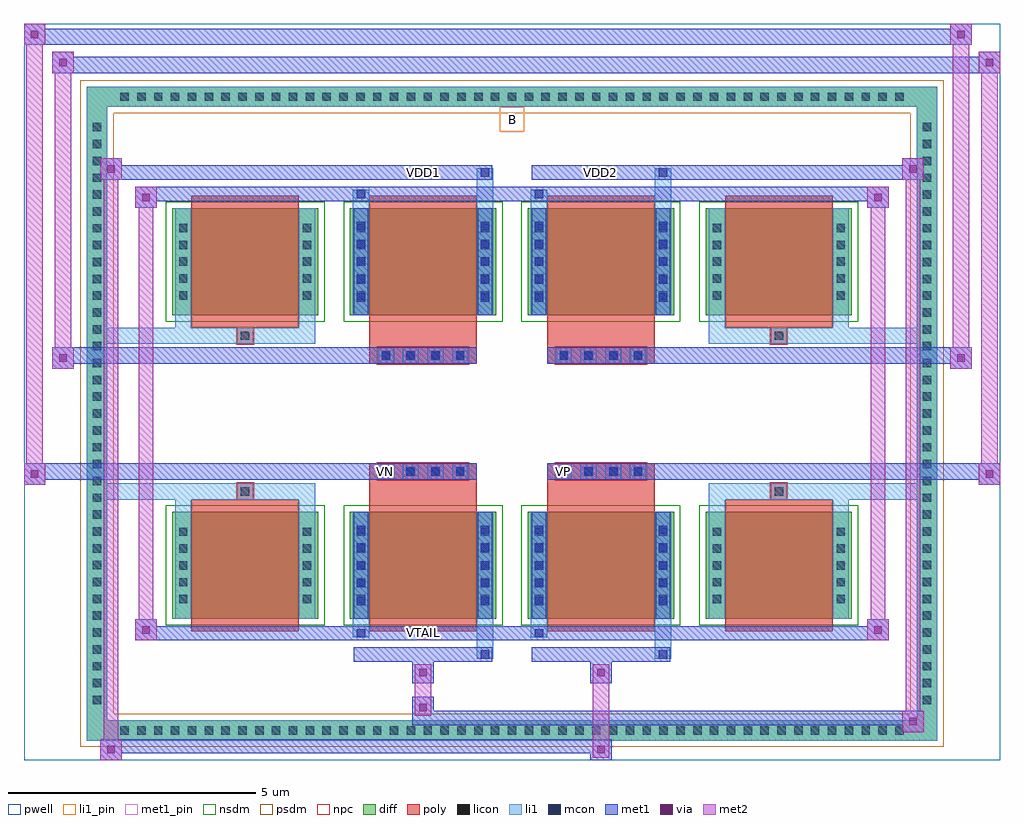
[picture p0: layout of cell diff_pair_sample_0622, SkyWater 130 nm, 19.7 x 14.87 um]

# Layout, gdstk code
import gdstk
lib = gdstk.Library(unit=1e-6, precision=5e-09)
def R(c, l, rs):  # rectangles x0, y0, x1, y1
    for r in rs: c.add(gdstk.rectangle(r[:2], r[2:], *l))
def A(c, l, x, y, w, h, nx, ny, dx, dy):  # array of equal rectangles
    R(c, l, [(x+i*dx, y+j*dy, x+i*dx+w, y+j*dy+h) for i in range(nx) for j in range(ny)])
def P(c, l, *ps):  # polygons
    for p in ps: c.add(gdstk.Polygon(p, *l))
pwell = (64, 44)
diff = (65, 20)
poly = (66, 20)
licon = (66, 44)
li1_pin = (67, 16)
li1 = (67, 20)
mcon = (67, 44)
met1_pin = (68, 16)
met1 = (68, 20)
via = (68, 44)
met2 = (69, 20)
nsdm = (93, 44)
psdm = (94, 20)
npc = (95, 20)

diff_pair_sample_0622 = lib.new_cell('diff_pair_sample_0622')
R(diff_pair_sample_0622, pwell, [(-9.85,-7,9.85,7.87), (-7.17,-5.19,-0.01,-0.805), (0.01,-5.19,7.17,-0.805), (-7.17,0.805,-0.01,5.19), (0.01,0.805,7.17,5.19)])
A(diff_pair_sample_0622, diff, -8.025, -6.6, 0.41, 0.41, 47, 2, 0.34, 12.79)
A(diff_pair_sample_0622, diff, -8.58, -5.985, 0.41, 0.41, 1, 35, 0, 0.34)
A(diff_pair_sample_0622, diff, 8.17, -5.985, 0.41, 0.41, 1, 35, 0, 0.34)
A(diff_pair_sample_0622, diff, -6.86, -4.145, 2.95, 2.16, 4, 2, 3.59, 6.13)
R(diff_pair_sample_0622, diff, [(-8.025,-6.6,8.025,-6.19), (-8.58,-5.985,-8.17,5.985), (8.17,-5.985,8.58,5.985), (-8.025,6.19,8.025,6.6)])
P(diff_pair_sample_0622, diff, [(8.58,6.6),(-8.58,6.6),(-8.58,-6.19),(-8.17,-6.19),(-8.17,6.19),(8.17,6.19),(8.17,-6.19),(-8.17,-6.19),(-8.58,-6.19),(-8.58,-6.6),(8.58,-6.6)])
A(diff_pair_sample_0622, poly, -6.47, -4.395, 2.17, 2.66, 4, 2, 3.59, 6.13)
A(diff_pair_sample_0622, poly, -2.71, -1.335, 0.33, 0.33, 4, 2, 0.5, 2.34)
A(diff_pair_sample_0622, poly, 0.88, -1.335, 0.33, 0.33, 4, 2, 0.5, 2.34)
R(diff_pair_sample_0622, poly, [(-5.55,-1.735,-5.22,-1.405), (-5.55,-1.735,-5.22,-1.405), (-2.88,-1.735,-0.71,-1.335), (0.71,-1.735,2.88,-1.335), (5.22,-1.735,5.55,-1.405), (5.22,-1.735,5.55,-1.405), (-2.88,-1.335,-0.71,-1.005), (0.71,-1.335,2.88,-1.005), (-2.88,1.005,-0.71,1.335), (0.71,1.005,2.88,1.335), (-2.88,1.335,-0.71,1.735), (0.71,1.335,2.88,1.735), (-5.55,1.405,-5.22,1.735), (-5.55,1.405,-5.22,1.735), (5.22,1.405,5.55,1.735), (5.22,1.405,5.55,1.735)])
A(diff_pair_sample_0622, licon, -7.905, -6.48, 0.17, 0.17, 47, 2, 0.34, 12.79)
A(diff_pair_sample_0622, licon, -8.46, -5.865, 0.17, 0.17, 1, 35, 0, 0.34)
A(diff_pair_sample_0622, licon, 8.29, -5.865, 0.17, 0.17, 1, 35, 0, 0.34)
A(diff_pair_sample_0622, licon, -6.72, -3.83, 0.17, 0.17, 1, 5, 0, 0.34)
A(diff_pair_sample_0622, licon, -4.22, -3.83, 0.17, 0.17, 1, 5, 0, 0.34)
A(diff_pair_sample_0622, licon, -3.13, -3.83, 0.17, 0.17, 1, 5, 0, 0.34)
A(diff_pair_sample_0622, licon, -0.63, -3.83, 0.17, 0.17, 1, 5, 0, 0.34)
A(diff_pair_sample_0622, licon, 0.46, -3.83, 0.17, 0.17, 1, 5, 0, 0.34)
A(diff_pair_sample_0622, licon, 2.96, -3.83, 0.17, 0.17, 1, 5, 0, 0.34)
A(diff_pair_sample_0622, licon, 4.05, -3.83, 0.17, 0.17, 1, 5, 0, 0.34)
A(diff_pair_sample_0622, licon, 6.55, -3.83, 0.17, 0.17, 1, 5, 0, 0.34)
A(diff_pair_sample_0622, licon, -2.63, -1.255, 0.17, 0.17, 4, 2, 0.5, 2.34)
A(diff_pair_sample_0622, licon, 0.96, -1.255, 0.17, 0.17, 4, 2, 0.5, 2.34)
A(diff_pair_sample_0622, licon, -6.72, 2.3, 0.17, 0.17, 1, 5, 0, 0.34)
A(diff_pair_sample_0622, licon, -4.22, 2.3, 0.17, 0.17, 1, 5, 0, 0.34)
A(diff_pair_sample_0622, licon, -3.13, 2.3, 0.17, 0.17, 1, 5, 0, 0.34)
A(diff_pair_sample_0622, licon, -0.63, 2.3, 0.17, 0.17, 1, 5, 0, 0.34)
A(diff_pair_sample_0622, licon, 0.46, 2.3, 0.17, 0.17, 1, 5, 0, 0.34)
A(diff_pair_sample_0622, licon, 2.96, 2.3, 0.17, 0.17, 1, 5, 0, 0.34)
A(diff_pair_sample_0622, licon, 4.05, 2.3, 0.17, 0.17, 1, 5, 0, 0.34)
A(diff_pair_sample_0622, licon, 6.55, 2.3, 0.17, 0.17, 1, 5, 0, 0.34)
R(diff_pair_sample_0622, licon, [(-5.47,-1.655,-5.3,-1.485), (5.3,-1.655,5.47,-1.485), (-5.47,1.485,-5.3,1.655), (5.3,1.485,5.47,1.655)])
R(diff_pair_sample_0622, li1_pin, [(-0.25,5.69,0.25,6.19)])
A(diff_pair_sample_0622, li1, -7.985, -6.56, 0.33, 0.33, 47, 2, 0.34, 12.79)
A(diff_pair_sample_0622, li1, -8.54, -5.945, 0.33, 0.33, 1, 35, 0, 0.34)
A(diff_pair_sample_0622, li1, 8.21, -5.945, 0.33, 0.33, 1, 35, 0, 0.34)
A(diff_pair_sample_0622, li1, -6.8, -3.91, 0.33, 0.33, 1, 5, 0, 0.34)
A(diff_pair_sample_0622, li1, -4.3, -3.91, 0.33, 0.33, 1, 5, 0, 0.34)
A(diff_pair_sample_0622, li1, -3.21, -3.91, 0.33, 0.33, 1, 5, 0, 0.34)
A(diff_pair_sample_0622, li1, -0.71, -3.91, 0.33, 0.33, 1, 5, 0, 0.34)
A(diff_pair_sample_0622, li1, 0.38, -3.91, 0.33, 0.33, 1, 5, 0, 0.34)
A(diff_pair_sample_0622, li1, 2.88, -3.91, 0.33, 0.33, 1, 5, 0, 0.34)
A(diff_pair_sample_0622, li1, 3.97, -3.91, 0.33, 0.33, 1, 5, 0, 0.34)
A(diff_pair_sample_0622, li1, 6.47, -3.91, 0.33, 0.33, 1, 5, 0, 0.34)
A(diff_pair_sample_0622, li1, -3.13, -3.87, 0.17, 0.17, 1, 5, 0, 0.36)
A(diff_pair_sample_0622, li1, -0.63, -3.87, 0.17, 0.17, 1, 5, 0, 0.36)
A(diff_pair_sample_0622, li1, 0.46, -3.87, 0.17, 0.17, 1, 5, 0, 0.36)
A(diff_pair_sample_0622, li1, 2.96, -3.87, 0.17, 0.17, 1, 5, 0, 0.36)
A(diff_pair_sample_0622, li1, -2.71, -1.335, 0.33, 0.33, 4, 2, 0.5, 2.34)
A(diff_pair_sample_0622, li1, 0.88, -1.335, 0.33, 0.33, 4, 2, 0.5, 2.34)
A(diff_pair_sample_0622, li1, -6.8, 2.22, 0.33, 0.33, 1, 5, 0, 0.34)
A(diff_pair_sample_0622, li1, -4.3, 2.22, 0.33, 0.33, 1, 5, 0, 0.34)
A(diff_pair_sample_0622, li1, -3.21, 2.22, 0.33, 0.33, 1, 5, 0, 0.34)
A(diff_pair_sample_0622, li1, -0.71, 2.22, 0.33, 0.33, 1, 5, 0, 0.34)
A(diff_pair_sample_0622, li1, 0.38, 2.22, 0.33, 0.33, 1, 5, 0, 0.34)
A(diff_pair_sample_0622, li1, 2.88, 2.22, 0.33, 0.33, 1, 5, 0, 0.34)
A(diff_pair_sample_0622, li1, 3.97, 2.22, 0.33, 0.33, 1, 5, 0, 0.34)
A(diff_pair_sample_0622, li1, 6.47, 2.22, 0.33, 0.33, 1, 5, 0, 0.34)
A(diff_pair_sample_0622, li1, -3.13, 2.26, 0.17, 0.17, 1, 5, 0, 0.36)
A(diff_pair_sample_0622, li1, -0.63, 2.26, 0.17, 0.17, 1, 5, 0, 0.36)
A(diff_pair_sample_0622, li1, 0.46, 2.26, 0.17, 0.17, 1, 5, 0, 0.36)
A(diff_pair_sample_0622, li1, 2.96, 2.26, 0.17, 0.17, 1, 5, 0, 0.36)
R(diff_pair_sample_0622, li1, [(-8.58,-6.6,-8.17,-6.19), (-8.58,-6.6,-8.17,-6.19), (-8.17,-6.6,8.17,-6.19), (8.17,-6.6,8.58,-6.19), (8.17,-6.6,8.58,-6.19), (-8.58,-6.19,-8.17,6.19), (8.17,-6.19,8.58,6.19), (-0.71,-4.95,-0.38,-4.145), (-0.63,-4.95,-0.46,-4.78), (2.88,-4.95,3.21,-4.145), (2.96,-4.95,3.13,-4.78), (-3.21,-4.52,-2.88,-4.145), (-3.13,-4.52,-2.96,-4.35), (0.38,-4.52,0.71,-4.145), (0.46,-4.52,0.63,-4.35), (-6.8,-4.145,-6.47,-1.985), (-4.3,-4.145,-3.97,-1.985), (-3.21,-4.145,-2.88,-1.985), (-0.71,-4.145,-0.38,-1.985), (0.38,-4.145,0.71,-1.985), (2.88,-4.145,3.21,-1.985), (3.97,-4.145,4.3,-1.985), (6.47,-4.145,6.8,-1.985), (-3.13,-3.87,-2.96,-2.26), (-0.63,-3.87,-0.46,-2.26), (0.46,-3.87,0.63,-2.26), (2.96,-3.87,3.13,-2.26), (-6.8,-1.985,-6.47,-1.405), (-4.3,-1.985,-3.97,-1.405), (3.97,-1.985,4.3,-1.405), (6.47,-1.985,6.8,-1.405), (-8.58,-1.735,-5.55,-1.405), (-6.8,-1.735,-5.55,-1.405), (-5.55,-1.735,-5.22,-1.405), (-5.22,-1.735,-3.97,-1.405), (3.97,-1.735,5.22,-1.405), (5.22,-1.735,5.55,-1.405), (5.22,-1.735,8.58,-1.405), (5.55,-1.735,6.8,-1.405), (-8.58,1.405,-5.55,1.735), (-6.8,1.405,-5.55,1.735), (-6.8,1.405,-6.47,1.985), (-5.55,1.405,-5.22,1.735), (-5.22,1.405,-3.97,1.735), (-4.3,1.405,-3.97,1.985), (3.97,1.405,5.22,1.735), (3.97,1.405,4.3,1.985), (5.22,1.405,5.55,1.735), (5.22,1.405,8.58,1.735), (5.55,1.405,6.8,1.735), (6.47,1.405,6.8,1.985), (-6.8,1.985,-6.47,4.145), (-4.3,1.985,-3.97,4.145), (-3.21,1.985,-2.88,4.145), (-0.71,1.985,-0.38,4.145), (0.38,1.985,0.71,4.145), (2.88,1.985,3.21,4.145), (3.97,1.985,4.3,4.145), (6.47,1.985,6.8,4.145), (-3.13,2.26,-2.96,3.87), (-0.63,2.26,-0.46,3.87), (0.46,2.26,0.63,3.87), (2.96,2.26,3.13,3.87), (-3.21,4.145,-2.88,4.52), (-0.71,4.145,-0.38,4.95), (0.38,4.145,0.71,4.52), (2.88,4.145,3.21,4.95), (-3.13,4.35,-2.96,4.52), (0.46,4.35,0.63,4.52), (-0.63,4.78,-0.46,4.95), (2.96,4.78,3.13,4.95), (-8.58,6.19,-8.17,6.6), (-8.58,6.19,-8.17,6.6), (-8.17,6.19,8.17,6.6), (8.17,6.19,8.58,6.6), (8.17,6.19,8.58,6.6)])
A(diff_pair_sample_0622, mcon, -3.13, -3.87, 0.17, 0.17, 1, 5, 0, 0.36)
A(diff_pair_sample_0622, mcon, -0.63, -3.87, 0.17, 0.17, 1, 5, 0, 0.36)
A(diff_pair_sample_0622, mcon, 0.46, -3.87, 0.17, 0.17, 1, 5, 0, 0.36)
A(diff_pair_sample_0622, mcon, 2.96, -3.87, 0.17, 0.17, 1, 5, 0, 0.36)
A(diff_pair_sample_0622, mcon, -2.63, -1.255, 0.17, 0.17, 4, 2, 0.5, 2.34)
A(diff_pair_sample_0622, mcon, 0.96, -1.255, 0.17, 0.17, 4, 2, 0.5, 2.34)
A(diff_pair_sample_0622, mcon, -3.13, 2.26, 0.17, 0.17, 1, 5, 0, 0.36)
A(diff_pair_sample_0622, mcon, -0.63, 2.26, 0.17, 0.17, 1, 5, 0, 0.36)
A(diff_pair_sample_0622, mcon, 0.46, 2.26, 0.17, 0.17, 1, 5, 0, 0.36)
A(diff_pair_sample_0622, mcon, 2.96, 2.26, 0.17, 0.17, 1, 5, 0, 0.36)
R(diff_pair_sample_0622, mcon, [(-0.63,-4.95,-0.46,-4.78), (2.96,-4.95,3.13,-4.78), (-3.13,-4.52,-2.96,-4.35), (0.46,-4.52,0.63,-4.35), (-3.13,4.35,-2.96,4.52), (0.46,4.35,0.63,4.52), (-0.63,4.78,-0.46,4.95), (2.96,4.78,3.13,4.95)])
R(diff_pair_sample_0622, met1_pin, [(-1.93,-4.56,-1.66,-4.29), (-2.68,-1.295,-2.41,-1.025), (0.91,-1.295,1.18,-1.025), (-1.93,4.74,-1.66,5.01), (1.66,4.74,1.93,5.01)])
A(diff_pair_sample_0622, met1, -3.19, -3.93, 0.29, 0.29, 1, 5, 0, 0.36)
A(diff_pair_sample_0622, met1, -0.69, -3.93, 0.29, 0.29, 1, 5, 0, 0.36)
A(diff_pair_sample_0622, met1, 0.4, -3.93, 0.29, 0.29, 1, 5, 0, 0.36)
A(diff_pair_sample_0622, met1, 2.9, -3.93, 0.29, 0.29, 1, 5, 0, 0.36)
A(diff_pair_sample_0622, met1, -2.69, -1.315, 0.29, 0.29, 4, 2, 0.5, 2.34)
A(diff_pair_sample_0622, met1, 0.9, -1.315, 0.29, 0.29, 4, 2, 0.5, 2.34)
A(diff_pair_sample_0622, met1, -3.19, 2.2, 0.29, 0.29, 1, 5, 0, 0.36)
A(diff_pair_sample_0622, met1, -0.69, 2.2, 0.29, 0.29, 1, 5, 0, 0.36)
A(diff_pair_sample_0622, met1, 0.4, 2.2, 0.29, 0.29, 1, 5, 0, 0.36)
A(diff_pair_sample_0622, met1, 2.9, 2.2, 0.29, 0.29, 1, 5, 0, 0.36)
R(diff_pair_sample_0622, met1, [(-8.31,-7,-7.88,-6.57), (1.58,-7,2.01,-6.57), (-8.31,-6.86,2.01,-6.57), (7.88,-6.43,8.31,-6), (-2.01,-6.29,8.31,-6), (-2.01,-6.15,-1.58,-5.72), (-2.01,-5.44,-1.58,-5.01), (1.58,-5.44,2.01,-5.01), (-3.19,-5.01,-0.4,-4.72), (-0.69,-5.01,-0.4,-4.72), (0.4,-5.01,3.19,-4.72), (2.9,-5.01,3.19,-4.72), (-7.6,-4.58,-7.17,-4.15), (-7.6,-4.58,-3.19,-4.29), (-3.19,-4.58,-2.9,-4.29), (-3.19,-4.58,-0.4,-4.29), (-0.4,-4.58,0.4,-4.29), (0.4,-4.58,0.69,-4.29), (0.4,-4.58,3.19,-4.29), (3.19,-4.58,7.6,-4.29), (7.17,-4.58,7.6,-4.15), (-3.19,-4.145,-2.9,-1.985), (-0.69,-4.145,-0.4,-1.985), (0.4,-4.145,0.69,-1.985), (2.9,-4.145,3.19,-1.985), (-9.85,-1.435,-9.42,-1.005), (9.42,-1.435,9.85,-1.005), (-9.85,-1.335,-0.71,-1.005), (-2.88,-1.335,-0.71,-1.005), (0.71,-1.335,2.88,-1.005), (0.71,-1.335,9.85,-1.005), (-9.28,0.905,-8.85,1.335), (8.85,0.905,9.28,1.335), (-9.28,1.005,-2.88,1.335), (-2.88,1.005,-0.71,1.335), (0.71,1.005,2.88,1.335), (2.88,1.005,9.28,1.335), (-3.19,1.985,-2.9,4.145), (-0.69,1.985,-0.4,4.145), (0.4,1.985,0.69,4.145), (2.9,1.985,3.19,4.145), (-7.6,4.15,-7.17,4.58), (7.17,4.15,7.6,4.58), (-7.6,4.29,-3.19,4.58), (-3.19,4.29,-2.9,4.58), (-3.19,4.29,-0.4,4.58), (-0.4,4.29,0.4,4.58), (0.4,4.29,0.69,4.58), (0.4,4.29,3.19,4.58), (3.19,4.29,7.6,4.58), (-8.31,4.72,-7.88,5.15), (-8.31,4.72,-3.19,5.01), (-3.19,4.72,-0.4,5.01), (-0.69,4.72,-0.4,5.01), (0.4,4.72,3.19,5.01), (2.9,4.72,3.19,5.01), (3.19,4.72,8.31,5.01), (7.88,4.72,8.31,5.15), (-9.28,6.87,-8.85,7.3), (-9.28,6.87,-7.17,7.2), (-7.17,6.87,7.17,7.2), (7.17,6.87,9.85,7.2), (9.42,6.87,9.85,7.3), (-9.85,7.44,-9.42,7.87), (-9.85,7.44,-7.17,7.77), (-7.17,7.44,7.17,7.77), (7.17,7.44,9.28,7.77), (8.85,7.44,9.28,7.87)])
R(diff_pair_sample_0622, via, [(-8.17,-6.86,-8.02,-6.71), (1.72,-6.86,1.87,-6.71), (8.02,-6.29,8.17,-6.14), (-1.87,-6.01,-1.72,-5.86), (-1.87,-5.3,-1.72,-5.15), (1.72,-5.3,1.87,-5.15), (-7.46,-4.44,-7.31,-4.29), (7.31,-4.44,7.46,-4.29), (-9.71,-1.295,-9.56,-1.145), (9.56,-1.295,9.71,-1.145), (-9.14,1.045,-8.99,1.195), (8.99,1.045,9.14,1.195), (-7.46,4.29,-7.31,4.44), (7.31,4.29,7.46,4.44), (-8.17,4.86,-8.02,5.01), (8.02,4.86,8.17,5.01), (-9.14,7.01,-8.99,7.16), (9.56,7.01,9.71,7.16), (-9.71,7.58,-9.56,7.73), (8.99,7.58,9.14,7.73)])
R(diff_pair_sample_0622, met2, [(-8.31,-7,-7.88,-6.57), (-8.24,-7,-7.95,5.15), (-7.95,-7,-7.88,-6.57), (-8.26,-6.95,-7.93,-6.62), (1.63,-6.95,1.96,-6.62), (1.63,-6.62,1.96,-5.39), (7.88,-6.43,8.31,-6), (7.95,-6.43,8.24,5.15), (8.24,-6.43,8.31,-6), (7.93,-6.38,8.26,-6.05), (-1.96,-6.1,-1.63,-5.77), (-1.96,-5.77,-1.63,-5.39), (-1.96,-5.39,-1.63,-5.06), (1.63,-5.39,1.96,-5.06), (-7.6,-4.58,-7.17,-4.15), (-7.53,-4.58,-7.24,4.58), (-7.24,-4.58,-7.17,-4.15), (7.17,-4.58,7.6,-4.15), (7.24,-4.58,7.53,4.58), (7.53,-4.58,7.6,-4.15), (-7.55,-4.53,-7.22,-4.2), (7.22,-4.53,7.55,-4.2), (-9.85,-1.435,-9.42,-1.005), (-9.8,-1.435,-9.47,7.87), (-9.47,-1.435,-9.42,-1.005), (9.42,-1.435,9.85,-1.005), (9.47,-1.435,9.8,7.3), (9.8,-1.435,9.85,-1.005), (-9.8,-1.385,-9.47,-1.055), (9.47,-1.385,9.8,-1.055), (-9.28,0.905,-8.85,1.335), (-9.23,0.905,-8.9,7.3), (-8.9,0.905,-8.85,1.335), (8.85,0.905,9.28,1.335), (8.9,0.905,9.23,7.87), (9.23,0.905,9.28,1.335), (-9.23,0.955,-8.9,1.285), (8.9,0.955,9.23,1.285), (-7.6,4.15,-7.17,4.58), (-7.24,4.15,-7.17,4.58), (7.17,4.15,7.6,4.58), (7.53,4.15,7.6,4.58), (-7.55,4.2,-7.22,4.53), (7.22,4.2,7.55,4.53), (-8.31,4.72,-7.88,5.15), (-7.95,4.72,-7.88,5.15), (7.88,4.72,8.31,5.15), (8.24,4.72,8.31,5.15), (-8.26,4.77,-7.93,5.1), (7.93,4.77,8.26,5.1), (-9.28,6.87,-8.85,7.3), (-8.9,6.87,-8.85,7.3), (9.42,6.87,9.85,7.3), (9.8,6.87,9.85,7.3), (-9.23,6.92,-8.9,7.25), (9.47,6.92,9.8,7.25), (-9.85,7.44,-9.42,7.87), (-9.47,7.44,-9.42,7.87), (8.85,7.44,9.28,7.87), (9.23,7.44,9.28,7.87), (-9.8,7.49,-9.47,7.82), (8.9,7.49,9.23,7.82)])
A(diff_pair_sample_0622, nsdm, -6.99, -4.275, 3.21, 2.42, 4, 2, 3.59, 6.13)
P(diff_pair_sample_0622, psdm, [(8.71,6.73),(-8.71,6.73),(-8.71,-6.06),(-8.04,-6.06),(-8.04,6.06),(8.04,6.06),(8.04,-6.06),(-8.04,-6.06),(-8.71,-6.06),(-8.71,-6.73),(8.71,-6.73)])
A(diff_pair_sample_0622, npc, -2.73, -1.355, 0.37, 0.37, 4, 2, 0.5, 2.34)
A(diff_pair_sample_0622, npc, 0.86, -1.355, 0.37, 0.37, 4, 2, 0.5, 2.34)
R(diff_pair_sample_0622, npc, [(-5.57,-1.755,-5.2,-1.385), (5.2,-1.755,5.57,-1.385), (-2.73,-1.355,-1.86,-0.985), (-2.73,-1.355,-1.86,-0.985), (-2.23,-1.355,-1.36,-0.985), (-2.23,-1.355,-1.36,-0.985), (-1.73,-1.355,-0.86,-0.985), (-1.73,-1.355,-0.86,-0.985), (0.86,-1.355,1.73,-0.985), (0.86,-1.355,1.73,-0.985), (1.36,-1.355,2.23,-0.985), (1.36,-1.355,2.23,-0.985), (1.86,-1.355,2.73,-0.985), (1.86,-1.355,2.73,-0.985), (-2.73,0.985,-1.86,1.355), (-2.73,0.985,-1.86,1.355), (-2.23,0.985,-1.36,1.355), (-2.23,0.985,-1.36,1.355), (-1.73,0.985,-0.86,1.355), (-1.73,0.985,-0.86,1.355), (0.86,0.985,1.73,1.355), (0.86,0.985,1.73,1.355), (1.36,0.985,2.23,1.355), (1.36,0.985,2.23,1.355), (1.86,0.985,2.73,1.355), (1.86,0.985,2.73,1.355), (-5.57,1.385,-5.2,1.755), (5.2,1.385,5.57,1.755)])
diff_pair_sample_0622.add(gdstk.Label('VTAIL', (-1.795,-4.425), layer=68, texttype=5))
diff_pair_sample_0622.add(gdstk.Label('VN', (-2.545,-1.16), layer=68, texttype=5))
diff_pair_sample_0622.add(gdstk.Label('VP', (1.045,-1.16), layer=68, texttype=5))
diff_pair_sample_0622.add(gdstk.Label('B', (0,5.94), layer=67, texttype=5))
diff_pair_sample_0622.add(gdstk.Label('VDD2', (1.795,4.875), layer=68, texttype=5))
diff_pair_sample_0622.add(gdstk.Label('VDD1', (-1.795,4.875), layer=68, texttype=5))

lib.write_gds('diff_pair_sample_0622.gds')
